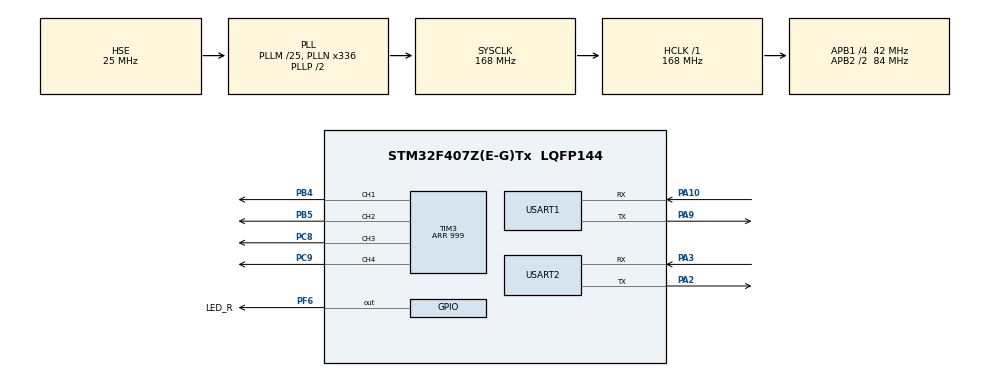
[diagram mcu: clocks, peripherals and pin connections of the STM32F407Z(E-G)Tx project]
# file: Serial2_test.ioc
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Dma.Request0=USART2_RX
Dma.Request1=USART1_TX
Dma.USART1_TX.1.Direction=DMA_MEMORY_TO_PERIPH
Dma.USART1_TX.1.FIFOMode=DMA_FIFOMODE_DISABLE
Dma.USART1_TX.1.Instance=DMA2_Stream7
Dma.USART1_TX.1.MemDataAlignment=DMA_MDATAALIGN_BYTE
Dma.USART1_TX.1.MemInc=DMA_MINC_ENABLE
Dma.USART1_TX.1.Mode=DMA_NORMAL
Dma.USART1_TX.1.PeriphDataAlignment=DMA_PDATAALIGN_BYTE
Dma.USART1_TX.1.PeriphInc=DMA_PINC_DISABLE
Dma.USART1_TX.1.Priority=DMA_PRIORITY_LOW
Dma.USART2_RX.0.Direction=DMA_PERIPH_TO_MEMORY
Dma.USART2_RX.0.FIFOMode=DMA_FIFOMODE_DISABLE
Dma.USART2_RX.0.Instance=DMA1_Stream5
Dma.USART2_RX.0.MemDataAlignment=DMA_MDATAALIGN_BYTE
Dma.USART2_RX.0.MemInc=DMA_MINC_ENABLE
Dma.USART2_RX.0.Mode=DMA_CIRCULAR
Dma.USART2_RX.0.PeriphDataAlignment=DMA_PDATAALIGN_BYTE
Dma.USART2_RX.0.PeriphInc=DMA_PINC_DISABLE
Dma.USART2_RX.0.Priority=DMA_PRIORITY_HIGH
FREERTOS.Tasks01=defaultTask,0,128,StartDefaultTask,Default,NULL,Dynamic,NULL,NULL;myTask02,-3,128,StartTask02,Default,NULL,Dynamic,NULL,NULL
Mcu.Family=STM32F4
Mcu.Name=STM32F407Z(E-G)Tx
Mcu.Package=LQFP144
NVIC.DMA1_Stream5_IRQn=true\:5\:0\:false\:false\:true\:true\:false\:true\:true
NVIC.DMA2_Stream7_IRQn=true\:5\:0\:false\:false\:true\:true\:false\:true\:true
NVIC.PriorityGroup=NVIC_PRIORITYGROUP_4
NVIC.TIM6_DAC_IRQn=true\:15\:0\:false\:false\:true\:false\:false\:true\:true
NVIC.TimeBase=TIM6_DAC_IRQn
NVIC.TimeBaseIP=TIM6
NVIC.USART1_IRQn=true\:5\:0\:false\:false\:true\:true\:false\:true\:true
NVIC.USART2_IRQn=true\:5\:0\:false\:false\:true\:true\:true\:true\:true
PA10.Mode=Asynchronous
PA10.Signal=USART1_RX
PA2.Mode=Asynchronous
PA2.Signal=USART2_TX
PA3.Mode=Asynchronous
PA3.Signal=USART2_RX
PA9.Mode=Asynchronous
PA9.Signal=USART1_TX
PB4.Signal=S_TIM3_CH1
PB5.Signal=S_TIM3_CH2
PC8.Signal=S_TIM3_CH3
PC9.Signal=S_TIM3_CH4
PF6.GPIO_Label=LED_R
PF6.GPIO_ModeDefaultOutputPP=GPIO_MODE_OUTPUT_OD
PF6.GPIO_PuPd=GPIO_NOPULL
PF6.Signal=GPIO_Output
PH0-OSC_IN.Mode=HSE-External-Oscillator
PH0-OSC_IN.Signal=RCC_OSC_IN
PH1-OSC_OUT.Mode=HSE-External-Oscillator
PH1-OSC_OUT.Signal=RCC_OSC_OUT
ProjectManager.HeapSize=0x200
ProjectManager.StackSize=0x400
ProjectManager.TargetToolchain=Makefile
RCC.48MHZClocksFreq_Value=84000000
RCC.AHBFreq_Value=168000000
RCC.APB1CLKDivider=RCC_HCLK_DIV4
RCC.APB1Freq_Value=42000000
RCC.APB1TimFreq_Value=84000000
RCC.APB2CLKDivider=RCC_HCLK_DIV2
RCC.APB2Freq_Value=84000000
RCC.APB2TimFreq_Value=168000000
RCC.CortexFreq_Value=168000000
RCC.HCLKFreq_Value=168000000
RCC.HSE_VALUE=25000000
RCC.HSI_VALUE=16000000
RCC.LSE_VALUE=32768
RCC.PLLM=25
RCC.PLLN=336
RCC.PLLSourceVirtual=RCC_PLLSOURCE_HSE
RCC.SYSCLKFreq_VALUE=168000000
RCC.SYSCLKSource=RCC_SYSCLKSOURCE_PLLCLK
RCC.VCOOutputFreq_Value=336000000
SH.S_TIM3_CH1.0=TIM3_CH1,PWM Generation1 CH1
SH.S_TIM3_CH2.0=TIM3_CH2,PWM Generation2 CH2
SH.S_TIM3_CH3.0=TIM3_CH3,PWM Generation3 CH3
SH.S_TIM3_CH4.0=TIM3_CH4,PWM Generation4 CH4
TIM3.Channel-PWM\ Generation1\ CH1=TIM_CHANNEL_1
TIM3.Channel-PWM\ Generation2\ CH2=TIM_CHANNEL_2
TIM3.Channel-PWM\ Generation3\ CH3=TIM_CHANNEL_3
TIM3.Channel-PWM\ Generation4\ CH4=TIM_CHANNEL_4
TIM3.Period=999
USART1.VirtualMode=VM_ASYNC
USART2.VirtualMode=VM_ASYNC
VP_FREERTOS_VS_CMSIS_V1.Mode=CMSIS_V1
VP_SYS_VS_tim6.Mode=TIM6
board=custom

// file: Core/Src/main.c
/* USER CODE BEGIN Header */
/**
  ******************************************************************************
  * @file           : main.c
  * @brief          : Main program body
  ******************************************************************************
  * @attention
  *
  * Copyright (c) 2025 STMicroelectronics.
  * All rights reserved.
  *
  * This software is licensed under terms that can be found in the LICENSE file
  * in the root directory of this software component.
  * If no LICENSE file comes with this software, it is provided AS-IS.
  *
  ******************************************************************************
  */
/* USER CODE END Header */
#include "main.h"
#include "cmsis_os.h"
#include "dma.h"
#include "tim.h"
#include "usart.h"
#include "gpio.h"

/* USER CODE BEGIN Includes */
#include <string.h>
/* USER CODE END Includes */

void SystemClock_Config(void);
void MX_FREERTOS_Init(void);

int main(void)
{

  /* MCU Configuration--------------------------------------------------------*/

  /* Reset of all peripherals, Initializes the Flash interface and the Systick. */
  HAL_Init();

  /* Configure the system clock */
  SystemClock_Config();

  /* Initialize all configured peripherals */
  MX_GPIO_Init();
  MX_DMA_Init();
  MX_USART2_UART_Init();
  MX_USART1_UART_Init();
  MX_TIM3_Init();
  /* USER CODE BEGIN 2 */
    HAL_TIM_PWM_Start(&htim3, TIM_CHANNEL_1);
    HAL_TIM_PWM_Start(&htim3, TIM_CHANNEL_2);
    HAL_TIM_PWM_Start(&htim3, TIM_CHANNEL_3);
    HAL_TIM_PWM_Start(&htim3, TIM_CHANNEL_4);
  /* USER CODE END 2 */

  /* Call init function for freertos objects (in cmsis_os2.c) */
  MX_FREERTOS_Init();

  /* Start scheduler */
  osKernelStart();

  /* We should never get here as control is now taken by the scheduler */

  /* Infinite loop */
  /* USER CODE BEGIN WHILE */
  // unsigned char* msg = "Hello from usart2\r\n";
  while (1)
  {
      // HAL_GPIO_TogglePin(LED_R_GPIO_Port, LED_R_Pin);
      // HAL_Delay(500);
      // HAL_UART_Transmit(&huart2,  msg, strlen(msg), 1000);
    /* USER CODE END WHILE */

  }
}

void SystemClock_Config(void)
{
  RCC_OscInitTypeDef RCC_OscInitStruct = {0};
  RCC_ClkInitTypeDef RCC_ClkInitStruct = {0};

  /** Configure the main internal regulator output voltage
  */
  __HAL_RCC_PWR_CLK_ENABLE();
  __HAL_PWR_VOLTAGESCALING_CONFIG(PWR_REGULATOR_VOLTAGE_SCALE1);

  /** Initializes the RCC Oscillators according to the specified parameters
  * in the RCC_OscInitTypeDef structure.
  */
  RCC_OscInitStruct.OscillatorType = RCC_OSCILLATORTYPE_HSE;
  RCC_OscInitStruct.HSEState = RCC_HSE_ON;
  RCC_OscInitStruct.PLL.PLLState = RCC_PLL_ON;
  RCC_OscInitStruct.PLL.PLLSource = RCC_PLLSOURCE_HSE;
  RCC_OscInitStruct.PLL.PLLM = 25;
  RCC_OscInitStruct.PLL.PLLN = 336;
  RCC_OscInitStruct.PLL.PLLP = RCC_PLLP_DIV2;
  RCC_OscInitStruct.PLL.PLLQ = 4;
  if (HAL_RCC_OscConfig(&RCC_OscInitStruct) != HAL_OK)
  {
    Error_Handler();
  }

  /** Initializes the CPU, AHB and APB buses clocks
  */
  RCC_ClkInitStruct.ClockType = RCC_CLOCKTYPE_HCLK|RCC_CLOCKTYPE_SYSCLK
                              |RCC_CLOCKTYPE_PCLK1|RCC_CLOCKTYPE_PCLK2;
  RCC_ClkInitStruct.SYSCLKSource = RCC_SYSCLKSOURCE_PLLCLK;
  RCC_ClkInitStruct.AHBCLKDivider = RCC_SYSCLK_DIV1;
  RCC_ClkInitStruct.APB1CLKDivider = RCC_HCLK_DIV4;
  RCC_ClkInitStruct.APB2CLKDivider = RCC_HCLK_DIV2;

  if (HAL_RCC_ClockConfig(&RCC_ClkInitStruct, FLASH_LATENCY_5) != HAL_OK)
  {
    Error_Handler();
  }
}

/* USER CODE BEGIN 4 */
extern volatile uint8_t uart1_busy;
extern volatile uint8_t uart2_tx_busy;

void HAL_UART_TxCpltCallback(UART_HandleTypeDef *huart)
{
    if (huart->Instance == USART1)
    {
        uart1_busy = 0;
    }
    else if (huart->Instance == USART2)
    {
        uart2_tx_busy = 0;
    }
}
/* USER CODE END 4 */

void HAL_TIM_PeriodElapsedCallback(TIM_HandleTypeDef *htim)
{
  if (htim->Instance == TIM6)
  {
    HAL_IncTick();
  }
}

void Error_Handler(void)
{
  __disable_irq();
  while (1)
  {
  }
}

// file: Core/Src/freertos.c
/* USER CODE BEGIN Header */
/**
  ******************************************************************************
  * File Name          : freertos.c
  * Description        : Code for freertos applications
  ******************************************************************************
  * @attention
  *
  * Copyright (c) 2025 STMicroelectronics.
  * All rights reserved.
  *
  * This software is licensed under terms that can be found in the LICENSE file
  * in the root directory of this software component.
  * If no LICENSE file comes with this software, it is provided AS-IS.
  *
  ******************************************************************************
  */
/* USER CODE END Header */

#include "FreeRTOS.h"
#include "task.h"
#include "main.h"
#include "cmsis_os.h"

/* USER CODE BEGIN Includes */
#include "log.h"
#include "uart2_comm.h"

#include "gpio.h"
/* USER CODE END Includes */

osThreadId defaultTaskHandle;
osThreadId myTask02Handle;

void StartDefaultTask(void const * argument);
void StartTask02(void const * argument);

void MX_FREERTOS_Init(void); /* (MISRA C 2004 rule 8.1) */

/* GetIdleTaskMemory prototype (linked to static allocation support) */
void vApplicationGetIdleTaskMemory( StaticTask_t **ppxIdleTaskTCBBuffer, StackType_t **ppxIdleTaskStackBuffer, uint32_t *pulIdleTaskStackSize );

/* USER CODE BEGIN GET_IDLE_TASK_MEMORY */
static StaticTask_t xIdleTaskTCBBuffer;
static StackType_t xIdleStack[configMINIMAL_STACK_SIZE];

void vApplicationGetIdleTaskMemory( StaticTask_t **ppxIdleTaskTCBBuffer, StackType_t **ppxIdleTaskStackBuffer, uint32_t *pulIdleTaskStackSize )
{
  *ppxIdleTaskTCBBuffer = &xIdleTaskTCBBuffer;
  *ppxIdleTaskStackBuffer = &xIdleStack[0];
  *pulIdleTaskStackSize = configMINIMAL_STACK_SIZE;
  /* place for user code */
}
/* USER CODE END GET_IDLE_TASK_MEMORY */

void MX_FREERTOS_Init(void) {
  /* USER CODE BEGIN Init */
    log_init();
    uart2_comm_init();
  /* USER CODE END Init */

  /* Create the thread(s) */
  /* definition and creation of defaultTask */
  osThreadDef(defaultTask, StartDefaultTask, osPriorityNormal, 0, 128);
  defaultTaskHandle = osThreadCreate(osThread(defaultTask), NULL);

  /* definition and creation of myTask02 */
  osThreadDef(myTask02, StartTask02, osPriorityIdle, 0, 128);
  myTask02Handle = osThreadCreate(osThread(myTask02), NULL);

  /* USER CODE BEGIN RTOS_THREADS */
  /* add threads, ... */
    /* log task */
    osThreadDef(logTask, log_task, osPriorityLow, 0, 512);
    osThreadCreate(osThread(logTask), NULL);

    /* uart2 rx task */
    osThreadDef(uart2RxTask, uart2_rx_task, osPriorityAboveNormal, 0, 512);
    osThreadCreate(osThread(uart2RxTask), NULL);

    /* uart2 tx task */
    osThreadDef(uart2TxTask, uart2_tx_task, osPriorityAboveNormal, 0, 512);
    osThreadCreate(osThread(uart2TxTask), NULL);
  /* USER CODE END RTOS_THREADS */

}

void StartDefaultTask(void const * argument)
{
  /* USER CODE BEGIN StartDefaultTask */
  /* Infinite loop */
  for(;;)
  {
      // HAL_GPIO_TogglePin(LED_R_GPIO_Port, LED_R_Pin);
      // log_printf("Hello from default task\r\n");
    osDelay(1000);
  }
  /* USER CODE END StartDefaultTask */
}

void StartTask02(void const * argument)
{
  for(;;)
  {
    osDelay(1);
  }
}
